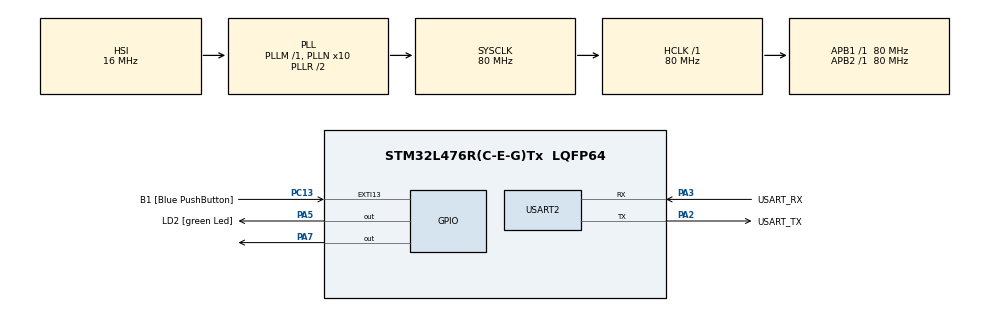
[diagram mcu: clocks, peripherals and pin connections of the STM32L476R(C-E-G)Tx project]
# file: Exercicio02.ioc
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Mcu.Family=STM32L4
Mcu.Name=STM32L476R(C-E-G)Tx
Mcu.Package=LQFP64
NVIC.EXTI15_10_IRQn=true\:0\:0\:false\:false\:true\:true\:true\:true
NVIC.PriorityGroup=NVIC_PRIORITYGROUP_4
PA13\ (JTMS-SWDIO).GPIO_Label=TMS
PA13\ (JTMS-SWDIO).Mode=Serial_Wire
PA13\ (JTMS-SWDIO).Signal=SYS_JTMS-SWDIO
PA14\ (JTCK-SWCLK).GPIO_Label=TCK
PA14\ (JTCK-SWCLK).Mode=Serial_Wire
PA14\ (JTCK-SWCLK).Signal=SYS_JTCK-SWCLK
PA2.GPIO_Label=USART_TX
PA2.GPIO_Mode=GPIO_MODE_AF_PP
PA2.GPIO_PuPd=GPIO_NOPULL
PA2.GPIO_Speed=GPIO_SPEED_FREQ_VERY_HIGH
PA2.Mode=Asynchronous
PA2.Signal=USART2_TX
PA3.GPIO_Label=USART_RX
PA3.GPIO_Mode=GPIO_MODE_AF_PP
PA3.GPIO_PuPd=GPIO_NOPULL
PA3.GPIO_Speed=GPIO_SPEED_FREQ_VERY_HIGH
PA3.Mode=Asynchronous
PA3.Signal=USART2_RX
PA5.GPIO_Label=LD2 [green Led]
PA5.GPIO_ModeDefaultOutputPP=GPIO_MODE_OUTPUT_PP
PA5.GPIO_PuPd=GPIO_NOPULL
PA5.GPIO_Speed=GPIO_SPEED_FREQ_LOW
PA5.Signal=GPIO_Output
PA7.Signal=GPIO_Output
PB3\ (JTDO-TRACESWO).GPIO_Label=SWO
PB3\ (JTDO-TRACESWO).Signal=SYS_JTDO-SWO
PC13.GPIO_Label=B1 [Blue PushButton]
PC13.GPIO_ModeDefaultEXTI=GPIO_MODE_IT_FALLING
PC13.Signal=GPXTI13
PC14-OSC32_IN\ (PC14).Mode=LSE-External-Oscillator
PC14-OSC32_IN\ (PC14).Signal=RCC_OSC32_IN
PC15-OSC32_OUT\ (PC15).Mode=LSE-External-Oscillator
PC15-OSC32_OUT\ (PC15).Signal=RCC_OSC32_OUT
PH0-OSC_IN\ (PH0).Signal=RCC_OSC_IN
PH1-OSC_OUT\ (PH1).Signal=RCC_OSC_OUT
ProjectManager.HeapSize=0x200
ProjectManager.StackSize=0x400
ProjectManager.TargetToolchain=STM32CubeIDE
RCC.ADCFreq_Value=64000000
RCC.AHBFreq_Value=80000000
RCC.APB1Freq_Value=80000000
RCC.APB1TimFreq_Value=80000000
RCC.APB2Freq_Value=80000000
RCC.APB2TimFreq_Value=80000000
RCC.CortexFreq_Value=80000000
RCC.HCLKFreq_Value=80000000
RCC.HSE_VALUE=8000000
RCC.HSI_VALUE=16000000
RCC.MSI_VALUE=4000000
RCC.PLLN=10
RCC.PLLSourceVirtual=RCC_PLLSOURCE_HSI
RCC.PREFETCH_ENABLE=1
RCC.SYSCLKFreq_VALUE=80000000
RCC.SYSCLKSource=RCC_SYSCLKSOURCE_PLLCLK
RCC.USBFreq_Value=64000000
RCC.VCOOutputFreq_Value=160000000
USART2.VirtualMode-Asynchronous=VM_ASYNC
board=NUCLEO-L476RG

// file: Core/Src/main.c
/* USER CODE BEGIN Header */
/**
  ******************************************************************************
  * @file           : main.c
  * @brief          : Main program body
  ******************************************************************************
  * @attention
  *
  * Copyright (c) 2025 STMicroelectronics.
  * All rights reserved.
  *
  * This software is licensed under terms that can be found in the LICENSE file
  * in the root directory of this software component.
  * If no LICENSE file comes with this software, it is provided AS-IS.
  *
  ******************************************************************************
  */
/* USER CODE END Header */
#include "main.h"

UART_HandleTypeDef huart2;

/* USER CODE BEGIN PV */
uint32_t frequency = 1; //declaração de variável
uint32_t period_ms;

/* USER CODE END PV */

void SystemClock_Config(void);
static void MX_GPIO_Init(void);
static void MX_USART2_UART_Init(void);

int main(void)
{

  /* MCU Configuration--------------------------------------------------------*/

  /* Reset of all peripherals, Initializes the Flash interface and the Systick. */
  HAL_Init();

  /* Configure the system clock */
  SystemClock_Config();

  /* Initialize all configured peripherals */
  MX_GPIO_Init();
  MX_USART2_UART_Init();

  /* Infinite loop */
  /* USER CODE BEGIN WHILE */
  while (1)
  {
	 period_ms = 1000 / frequency;

	 HAL_GPIO_WritePin(GPIOA, LD2_Pin, GPIO_PIN_SET);
	 HAL_Delay(period_ms);
	 HAL_GPIO_WritePin(GPIOA, LD2_Pin, GPIO_PIN_RESET);
	 HAL_Delay(period_ms);
    /* USER CODE END WHILE */

  }
}

void SystemClock_Config(void)
{
  RCC_OscInitTypeDef RCC_OscInitStruct = {0};
  RCC_ClkInitTypeDef RCC_ClkInitStruct = {0};

  /** Configure the main internal regulator output voltage
  */
  if (HAL_PWREx_ControlVoltageScaling(PWR_REGULATOR_VOLTAGE_SCALE1) != HAL_OK)
  {
    Error_Handler();
  }

  /** Initializes the RCC Oscillators according to the specified parameters
  * in the RCC_OscInitTypeDef structure.
  */
  RCC_OscInitStruct.OscillatorType = RCC_OSCILLATORTYPE_HSI;
  RCC_OscInitStruct.HSIState = RCC_HSI_ON;
  RCC_OscInitStruct.HSICalibrationValue = RCC_HSICALIBRATION_DEFAULT;
  RCC_OscInitStruct.PLL.PLLState = RCC_PLL_ON;
  RCC_OscInitStruct.PLL.PLLSource = RCC_PLLSOURCE_HSI;
  RCC_OscInitStruct.PLL.PLLM = 1;
  RCC_OscInitStruct.PLL.PLLN = 10;
  RCC_OscInitStruct.PLL.PLLP = RCC_PLLP_DIV7;
  RCC_OscInitStruct.PLL.PLLQ = RCC_PLLQ_DIV2;
  RCC_OscInitStruct.PLL.PLLR = RCC_PLLR_DIV2;
  if (HAL_RCC_OscConfig(&RCC_OscInitStruct) != HAL_OK)
  {
    Error_Handler();
  }

  /** Initializes the CPU, AHB and APB buses clocks
  */
  RCC_ClkInitStruct.ClockType = RCC_CLOCKTYPE_HCLK|RCC_CLOCKTYPE_SYSCLK
                              |RCC_CLOCKTYPE_PCLK1|RCC_CLOCKTYPE_PCLK2;
  RCC_ClkInitStruct.SYSCLKSource = RCC_SYSCLKSOURCE_PLLCLK;
  RCC_ClkInitStruct.AHBCLKDivider = RCC_SYSCLK_DIV1;
  RCC_ClkInitStruct.APB1CLKDivider = RCC_HCLK_DIV1;
  RCC_ClkInitStruct.APB2CLKDivider = RCC_HCLK_DIV1;

  if (HAL_RCC_ClockConfig(&RCC_ClkInitStruct, FLASH_LATENCY_4) != HAL_OK)
  {
    Error_Handler();
  }
}

static void MX_USART2_UART_Init(void)
{

  huart2.Instance = USART2;
  huart2.Init.BaudRate = 115200;
  huart2.Init.WordLength = UART_WORDLENGTH_8B;
  huart2.Init.StopBits = UART_STOPBITS_1;
  huart2.Init.Parity = UART_PARITY_NONE;
  huart2.Init.Mode = UART_MODE_TX_RX;
  huart2.Init.HwFlowCtl = UART_HWCONTROL_NONE;
  huart2.Init.OverSampling = UART_OVERSAMPLING_16;
  huart2.Init.OneBitSampling = UART_ONE_BIT_SAMPLE_DISABLE;
  huart2.AdvancedInit.AdvFeatureInit = UART_ADVFEATURE_NO_INIT;
  if (HAL_UART_Init(&huart2) != HAL_OK)
  {
    Error_Handler();
  }

}

static void MX_GPIO_Init(void)
{
  GPIO_InitTypeDef GPIO_InitStruct = {0};

  /* GPIO Ports Clock Enable */
  __HAL_RCC_GPIOC_CLK_ENABLE();
  __HAL_RCC_GPIOH_CLK_ENABLE();
  __HAL_RCC_GPIOA_CLK_ENABLE();
  __HAL_RCC_GPIOB_CLK_ENABLE();

  /*Configure GPIO pin Output Level */
  HAL_GPIO_WritePin(GPIOA, LD2_Pin|GPIO_PIN_7, GPIO_PIN_RESET);

  /*Configure GPIO pin : B1_Pin */
  GPIO_InitStruct.Pin = B1_Pin;
  GPIO_InitStruct.Mode = GPIO_MODE_IT_FALLING;
  GPIO_InitStruct.Pull = GPIO_NOPULL;
  HAL_GPIO_Init(B1_GPIO_Port, &GPIO_InitStruct);

  /*Configure GPIO pins : LD2_Pin PA7 */
  GPIO_InitStruct.Pin = LD2_Pin|GPIO_PIN_7;
  GPIO_InitStruct.Mode = GPIO_MODE_OUTPUT_PP;
  GPIO_InitStruct.Pull = GPIO_NOPULL;
  GPIO_InitStruct.Speed = GPIO_SPEED_FREQ_LOW;
  HAL_GPIO_Init(GPIOA, &GPIO_InitStruct);

  /* EXTI interrupt init*/
  HAL_NVIC_SetPriority(EXTI15_10_IRQn, 0, 0);
  HAL_NVIC_EnableIRQ(EXTI15_10_IRQn);

}

/* USER CODE BEGIN 4 */
void HAL_GPIO_EXTI_Callback(uint16_t GPIO_Pin)
{
	if(GPIO_Pin == GPIO_PIN_13) {
		if(frequency == 1){
			frequency = 2;
		}
		else{
			frequency = 1;
		}
	} else {
		__NOP();
	}
}
/* USER CODE END 4 */

void Error_Handler(void)
{
  __disable_irq();
  while (1)
  {
  }
}
